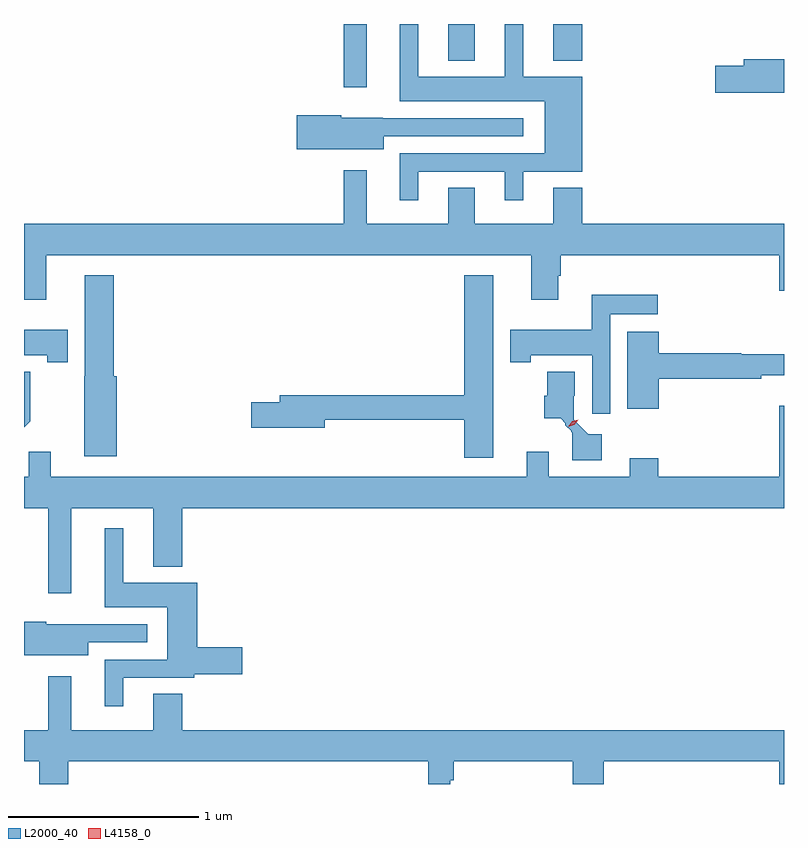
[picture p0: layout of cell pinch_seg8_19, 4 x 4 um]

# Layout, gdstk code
import gdstk
lib = gdstk.Library(unit=1e-6, precision=1e-09)
def R(c, l, rs):  # rectangles x0, y0, x1, y1
    for r in rs: c.add(gdstk.rectangle(r[:2], r[2:], *l))
def P(c, l, *ps):  # polygons
    for p in ps: c.add(gdstk.Polygon(p, *l))
L2000_40 = (2000, 40)
L4158_0 = (4158, 0)

pinch_seg8_19 = lib.new_cell('pinch_seg8_19')
R(pinch_seg8_19, L2000_40, [(1025.85,1156.011,1025.971,1156.344), (1026.401,1156.151,1026.541,1156.344), (1026.953,1156.151,1027.106,1156.344)])
P(pinch_seg8_19, L2000_40, [(1026.244,1155.567),(1026.698,1155.567),(1026.698,1155.417),(1026.796,1155.417),(1026.796,1155.567),(1027.105,1155.567),(1027.105,1156.066),(1026.796,1156.066),(1026.796,1156.344),(1026.698,1156.344),(1026.698,1156.066),(1026.244,1156.066),(1026.244,1156.344),(1026.146,1156.344),(1026.146,1155.938),(1026.908,1155.938),(1026.908,1155.663),(1026.146,1155.663),(1026.146,1155.417),(1026.244,1155.417)],
  [(1028.168,1156.159),(1027.955,1156.159),(1027.955,1156.125),(1027.805,1156.125),(1027.805,1155.983),(1028.168,1155.983)],
  [(1026.061,1155.753),(1026.796,1155.753),(1026.796,1155.849),(1026.057,1155.849),(1026.057,1155.85),(1025.838,1155.85),(1025.838,1155.863),(1025.603,1155.863),(1025.603,1155.685),(1026.061,1155.685)],
  [(1024.285,1155.128),(1026.839,1155.128),(1026.839,1154.892),(1026.979,1154.892),(1026.979,1155.018),(1026.992,1155.018),(1026.992,1155.128),(1028.144,1155.128),(1028.144,1154.94),(1028.168,1154.94),(1028.168,1155.292),(1027.106,1155.292),(1027.106,1155.481),(1026.953,1155.481),(1026.953,1155.292),(1026.541,1155.292),(1026.541,1155.482),(1026.401,1155.482),(1026.401,1155.292),(1025.971,1155.292),(1025.971,1155.574),(1025.85,1155.574),(1025.85,1155.292),(1024.168,1155.292),(1024.168,1154.892),(1024.285,1154.892)],
  [(1026.637,1155.022),(1026.485,1155.022),(1026.485,1154.39),(1025.513,1154.39),(1025.513,1154.354),(1025.364,1154.354),(1025.364,1154.219),(1025.752,1154.219),(1025.752,1154.262),(1026.485,1154.262),(1026.485,1154.061),(1026.637,1154.061)],
  [(1024.655,1154.49),(1024.64,1154.49),(1024.64,1155.022),(1024.487,1155.022),(1024.487,1154.49),(1024.484,1154.49),(1024.484,1154.069),(1024.655,1154.069)],
  [(1027.254,1154.816),(1027.504,1154.816),(1027.504,1154.92),(1027.157,1154.92),(1027.157,1154.734),(1026.726,1154.734),(1026.726,1154.564),(1026.835,1154.564),(1026.835,1154.6),(1027.158,1154.6),(1027.158,1154.292),(1027.254,1154.292)],
  [(1024.398,1154.734),(1024.168,1154.734),(1024.168,1154.6),(1024.29,1154.6),(1024.29,1154.564),(1024.398,1154.564)],
  [(1027.51,1154.476),(1028.048,1154.476),(1028.048,1154.495),(1028.168,1154.495),(1028.168,1154.605),(1027.944,1154.605),(1027.944,1154.612),(1027.51,1154.612),(1027.51,1154.725),(1027.343,1154.725),(1027.343,1154.319),(1027.51,1154.319)],
  [(1024.201,1154.254),(1024.201,1154.515),(1024.168,1154.515),(1024.168,1154.221)],
  [(1027.21,1154.185),(1027.139,1154.185),(1027.062,1154.262),(1027.062,1154.388),(1027.066,1154.388),(1027.066,1154.515),(1026.923,1154.515),(1026.923,1154.388),(1026.905,1154.388),(1026.905,1154.268),(1026.992,1154.268),(1027.017,1154.243),(1027.017,1154.232),(1027.047,1154.202),(1027.047,1154.199),(1027.054,1154.192),(1027.054,1154.049),(1027.21,1154.049)],
  [(1024.309,1154.092),(1024.194,1154.092),(1024.194,1153.96),(1024.168,1153.96),(1024.168,1153.796),(1024.296,1153.796),(1024.296,1153.347),(1024.417,1153.347),(1024.417,1153.796),(1024.847,1153.796),(1024.847,1153.487),(1025,1153.487),(1025,1153.796),(1028.168,1153.796),(1028.168,1154.335),(1028.144,1154.335),(1028.144,1153.96),(1027.507,1153.96),(1027.507,1154.059),(1027.355,1154.059),(1027.355,1153.96),(1026.931,1153.96),(1026.931,1154.092),(1026.815,1154.092),(1026.815,1153.96),(1024.309,1153.96)],
  [(1024.69,1152.903),(1025.064,1152.903),(1025.064,1152.922),(1025.317,1152.922),(1025.317,1153.064),(1025.081,1153.064),(1025.081,1153.402),(1024.69,1153.402),(1024.69,1153.69),(1024.592,1153.69),(1024.592,1153.274),(1024.922,1153.274),(1024.922,1152.999),(1024.592,1152.999),(1024.592,1152.753),(1024.69,1152.753)],
  [(1024.507,1153.089),(1024.816,1153.089),(1024.816,1153.185),(1024.503,1153.185),(1024.503,1153.186),(1024.284,1153.186),(1024.284,1153.199),(1024.168,1153.199),(1024.168,1153.021),(1024.507,1153.021)],
  [(1024.4,1152.464),(1026.295,1152.464),(1026.295,1152.344),(1026.411,1152.344),(1026.411,1152.363),(1026.431,1152.363),(1026.431,1152.464),(1027.055,1152.464),(1027.055,1152.344),(1027.22,1152.344),(1027.22,1152.464),(1028.144,1152.464),(1028.144,1152.344),(1028.168,1152.344),(1028.168,1152.628),(1025,1152.628),(1025,1152.818),(1024.847,1152.818),(1024.847,1152.628),(1024.417,1152.628),(1024.417,1152.91),(1024.296,1152.91),(1024.296,1152.628),(1024.168,1152.628),(1024.168,1152.464),(1024.247,1152.464),(1024.247,1152.344),(1024.4,1152.344)])
P(pinch_seg8_19, L4158_0, [(1027.033,1154.225),(1027.033,1154.225),(1027.053,1154.252),(1027.085,1154.262),(1027.086,1154.262),(1027.086,1154.262),(1027.065,1154.235),(1027.033,1154.225)])

lib.write_gds('pinch_seg8_19.gds')
